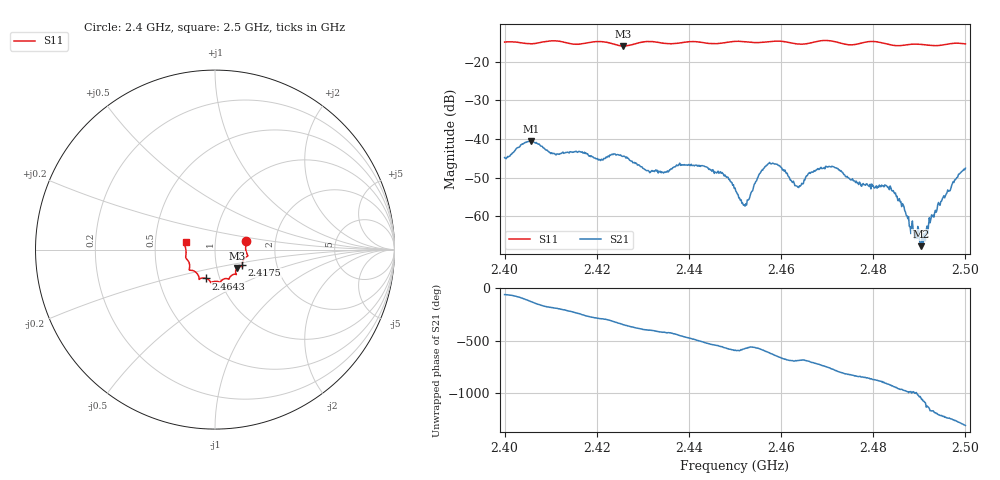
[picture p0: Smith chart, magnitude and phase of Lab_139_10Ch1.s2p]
# Hz S RI R 50
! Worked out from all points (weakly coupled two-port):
!   601 points, 2.4 GHz to 2.5 GHz, reference 50 ohm
!   highest |S21| = -40.55 dB at 2.4057 GHz (marker M1); lowest = -67.7 dB at 2.4903 GHz (marker M2)
!   lowest |S11| = -15.9 dB at 2.4257 GHz (marker M3), VSWR 1.38, Z = 62.5 - j13.1 ohm
!   |S11| at or under -10 dB: start of sweep to end of sweep
!   S12 and S22 are empty: the file has one direction only
!   S11 on the Smith chart (normalised r, x): 2.4 GHz: 1.41, +0.14; 2.4175 GHz: 1.34, -0.23; 2.4643 GHz: 0.86, -0.29; 2.5 GHz: 0.72, +0.06
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2.4e9  0.1727 0.049  0.00296 -0.00494  0 0  0 0
2.405667e9  0.1706 0.00586  -0.00535 -0.00772  0 0  0 0
2.410667e9  0.183 -0.0347  -0.00647 0.000738  0 0  0 0
2.416667e9  0.1528 -0.0741  -0.00247 0.0063  0 0  0 0
2.4175e9  0.1519 -0.0835  -0.00108 0.00641  0 0  0 0
2.420833e9  0.1542 -0.097  0.0018 0.00496  0 0  0 0
2.425667e9  0.1228 -0.102  0.00577 0.00148  0 0  0 0
2.433333e9  0.1131 -0.1371  0.00218 -0.00292  0 0  0 0
2.443333e9  0.068 -0.1617  -0.0041 -0.00178  0 0  0 0
2.447333e9  0.0384 -0.1702  -0.00339 0.00125  0 0  0 0
2.45e9  0.0289 -0.1811  -0.0015 0.00179  0 0  0 0
2.452333e9  0.0211 -0.1797  -0.00123 0.000793  0 0  0 0
2.455333e9  -0.00089 -0.1769  -0.00288 0.00212  0 0  0 0
2.457833e9  -0.0181 -0.182  -0.00055 0.00474  0 0  0 0
2.464333e9  -0.0497 -0.161  0.00206 0.00148  0 0  0 0
2.466667e9  -0.0758 -0.1594  0.00368 0.000794  0 0  0 0
2.4715e9  -0.088 -0.1603  0.00229 -0.00371  0 0  0 0
2.477e9  -0.1265 -0.1159  -0.00143 -0.00239  0 0  0 0
2.483333e9  -0.1409 -0.0901  -0.00229 0.000661  0 0  0 0
2.490333e9  -0.1632 -0.0387  0.000338 0.000237  0 0  0 0
2.4945e9  -0.1627 0.00383  -0.000973 -0.001  0 0  0 0
2.5e9  -0.1642 0.0432  -0.00271 0.00321  0 0  0 0
